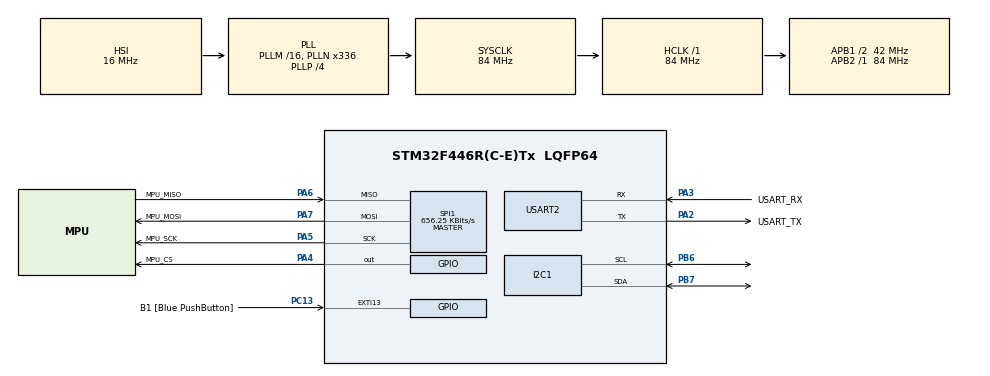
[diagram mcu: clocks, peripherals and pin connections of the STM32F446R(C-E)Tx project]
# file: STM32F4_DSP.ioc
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Dma.I2C1_RX.2.Direction=DMA_PERIPH_TO_MEMORY
Dma.I2C1_RX.2.FIFOMode=DMA_FIFOMODE_DISABLE
Dma.I2C1_RX.2.Instance=DMA1_Stream0
Dma.I2C1_RX.2.MemDataAlignment=DMA_MDATAALIGN_BYTE
Dma.I2C1_RX.2.MemInc=DMA_MINC_ENABLE
Dma.I2C1_RX.2.Mode=DMA_NORMAL
Dma.I2C1_RX.2.PeriphDataAlignment=DMA_PDATAALIGN_BYTE
Dma.I2C1_RX.2.PeriphInc=DMA_PINC_DISABLE
Dma.I2C1_RX.2.Priority=DMA_PRIORITY_HIGH
Dma.I2C1_TX.3.Direction=DMA_MEMORY_TO_PERIPH
Dma.I2C1_TX.3.FIFOMode=DMA_FIFOMODE_DISABLE
Dma.I2C1_TX.3.Instance=DMA1_Stream6
Dma.I2C1_TX.3.MemDataAlignment=DMA_MDATAALIGN_BYTE
Dma.I2C1_TX.3.MemInc=DMA_MINC_ENABLE
Dma.I2C1_TX.3.Mode=DMA_NORMAL
Dma.I2C1_TX.3.PeriphDataAlignment=DMA_PDATAALIGN_BYTE
Dma.I2C1_TX.3.PeriphInc=DMA_PINC_DISABLE
Dma.I2C1_TX.3.Priority=DMA_PRIORITY_HIGH
Dma.Request0=SPI1_RX
Dma.Request1=SPI1_TX
Dma.Request2=I2C1_RX
Dma.Request3=I2C1_TX
Dma.SPI1_RX.0.Direction=DMA_PERIPH_TO_MEMORY
Dma.SPI1_RX.0.FIFOMode=DMA_FIFOMODE_DISABLE
Dma.SPI1_RX.0.Instance=DMA2_Stream0
Dma.SPI1_RX.0.MemDataAlignment=DMA_MDATAALIGN_BYTE
Dma.SPI1_RX.0.MemInc=DMA_MINC_ENABLE
Dma.SPI1_RX.0.Mode=DMA_NORMAL
Dma.SPI1_RX.0.PeriphDataAlignment=DMA_PDATAALIGN_BYTE
Dma.SPI1_RX.0.PeriphInc=DMA_PINC_DISABLE
Dma.SPI1_RX.0.Priority=DMA_PRIORITY_HIGH
Dma.SPI1_TX.1.Direction=DMA_MEMORY_TO_PERIPH
Dma.SPI1_TX.1.FIFOMode=DMA_FIFOMODE_DISABLE
Dma.SPI1_TX.1.Instance=DMA2_Stream3
Dma.SPI1_TX.1.MemDataAlignment=DMA_MDATAALIGN_BYTE
Dma.SPI1_TX.1.MemInc=DMA_MINC_ENABLE
Dma.SPI1_TX.1.Mode=DMA_NORMAL
Dma.SPI1_TX.1.PeriphDataAlignment=DMA_PDATAALIGN_BYTE
Dma.SPI1_TX.1.PeriphInc=DMA_PINC_DISABLE
Dma.SPI1_TX.1.Priority=DMA_PRIORITY_HIGH
Mcu.Family=STM32F4
Mcu.Name=STM32F446R(C-E)Tx
Mcu.Package=LQFP64
NVIC.DMA1_Stream0_IRQn=true\:0\:0\:false\:false\:true\:false\:true\:true
NVIC.DMA1_Stream6_IRQn=true\:0\:0\:false\:false\:true\:false\:true\:true
NVIC.DMA2_Stream0_IRQn=true\:0\:0\:false\:false\:true\:false\:true\:true
NVIC.DMA2_Stream3_IRQn=true\:0\:0\:false\:false\:true\:false\:true\:true
NVIC.PriorityGroup=NVIC_PRIORITYGROUP_0
PA13.GPIO_Label=TMS
PA13.Mode=Serial_Wire
PA13.Signal=SYS_JTMS-SWDIO
PA14.GPIO_Label=TCK
PA14.Mode=Serial_Wire
PA14.Signal=SYS_JTCK-SWCLK
PA2.GPIO_Label=USART_TX
PA2.Mode=Asynchronous
PA2.Signal=USART2_TX
PA3.GPIO_Label=USART_RX
PA3.Mode=Asynchronous
PA3.Signal=USART2_RX
PA4.GPIO_Label=MPU_CS
PA4.Signal=GPIO_Output
PA5.GPIO_Label=MPU_SCK
PA5.Mode=Full_Duplex_Master
PA5.Signal=SPI1_SCK
PA6.GPIO_Label=MPU_MISO
PA6.Mode=Full_Duplex_Master
PA6.Signal=SPI1_MISO
PA7.GPIO_Label=MPU_MOSI
PA7.Mode=Full_Duplex_Master
PA7.Signal=SPI1_MOSI
PB3.GPIO_Label=SWO
PB3.Signal=SYS_JTDO-SWO
PB6.Mode=I2C
PB6.Signal=I2C1_SCL
PB7.Mode=I2C
PB7.Signal=I2C1_SDA
PC13.GPIO_Label=B1 [Blue PushButton]
PC13.GPIO_ModeDefaultEXTI=GPIO_MODE_IT_FALLING
PC13.Signal=GPXTI13
PC14-OSC32_IN.Mode=LSE-External-Oscillator
PC14-OSC32_IN.Signal=RCC_OSC32_IN
PC15-OSC32_OUT.Mode=LSE-External-Oscillator
PC15-OSC32_OUT.Signal=RCC_OSC32_OUT
PH0-OSC_IN.Mode=HSE-External-Oscillator
PH0-OSC_IN.Signal=RCC_OSC_IN
PH1-OSC_OUT.Mode=HSE-External-Oscillator
PH1-OSC_OUT.Signal=RCC_OSC_OUT
ProjectManager.HeapSize=0x200
ProjectManager.StackSize=0x400
ProjectManager.TargetToolchain=CMake
RCC.48MHZClocksFreq_Value=84000000
RCC.AHBFreq_Value=84000000
RCC.APB1CLKDivider=RCC_HCLK_DIV2
RCC.APB1Freq_Value=42000000
RCC.APB1TimFreq_Value=84000000
RCC.APB2Freq_Value=84000000
RCC.APB2TimFreq_Value=84000000
RCC.CortexFreq_Value=84000000
RCC.FLatency-AdvancedSettings=FLASH_LATENCY_2
RCC.HCLKFreq_Value=84000000
RCC.HSE_VALUE=8000000
RCC.HSI_VALUE=16000000
RCC.PLLN=336
RCC.PLLP=RCC_PLLP_DIV4
RCC.SYSCLKFreq_VALUE=84000000
RCC.SYSCLKSource=RCC_SYSCLKSOURCE_PLLCLK
RCC.USBFreq_Value=168000000
RCC.VCOOutputFreq_Value=336000000
SPI1.BaudRatePrescaler=SPI_BAUDRATEPRESCALER_128
SPI1.CalculateBaudRate=656.25 KBits/s
SPI1.Direction=SPI_DIRECTION_2LINES
SPI1.Mode=SPI_MODE_MASTER
SPI1.VirtualType=VM_MASTER
USART2.VirtualMode=VM_ASYNC
board=NUCLEO-F446RE

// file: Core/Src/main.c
/* USER CODE BEGIN Header */
/**
  ******************************************************************************
  * @file           : main.c
  * @brief          : Main program body
  ******************************************************************************
  * @attention
  *
  * Copyright (c) 2025 STMicroelectronics.
  * All rights reserved.
  *
  * This software is licensed under terms that can be found in the LICENSE file
  * in the root directory of this software component.
  * If no LICENSE file comes with this software, it is provided AS-IS.
  *
  ******************************************************************************
  */
/* USER CODE END Header */
#include "main.h"

/* USER CODE BEGIN Includes */
// #include "MPU9250.h"
#include "mpu9250.h"
#include "string.h"
#include "stdio.h"
#include "kalman_filter.h"
#include "bmp280.h"
#include "stdint.h"
/* USER CODE END Includes */

I2C_HandleTypeDef hi2c1;
DMA_HandleTypeDef hdma_i2c1_rx;
DMA_HandleTypeDef hdma_i2c1_tx;

SPI_HandleTypeDef hspi1;
DMA_HandleTypeDef hdma_spi1_rx;
DMA_HandleTypeDef hdma_spi1_tx;

UART_HandleTypeDef huart2;

/* USER CODE BEGIN PV */
uint8_t ret = 0;
mpu9250_t hIMU;
uint8_t whoami = 0;
uint8_t bmp280_id=0;
kalman_var kalman_Roll, kalman_Pitch;
gyro_fs_t Gyro_fs = gyro_fs_2000dps;
accel_fs_t Accel_fs = accel_fs_16g;

/* USER CODE END PV */

void SystemClock_Config(void);
static void MX_GPIO_Init(void);
static void MX_DMA_Init(void);
static void MX_SPI1_Init(void);
static void MX_USART2_UART_Init(void);
static void MX_I2C1_Init(void);

/* USER CODE BEGIN 0 */
void HAL_SPI_RxCpltCallback(SPI_HandleTypeDef *hspi)
{
  if (hspi->Instance == SPI1)
  {
   MPU_ReadAllDMA_Cplt(&hIMU, Accel_fs, Gyro_fs);
  }
}

/* USER CODE END 0 */

int main(void)
{

  /* MCU Configuration--------------------------------------------------------*/

  /* Reset of all peripherals, Initializes the Flash interface and the Systick. */
  HAL_Init();

  /* Configure the system clock */
  SystemClock_Config();

  /* Initialize all configured peripherals */
  MX_GPIO_Init();
  MX_DMA_Init();
  MX_SPI1_Init();
  MX_USART2_UART_Init();
  MX_I2C1_Init();
  /* USER CODE BEGIN 2 */

  char data[64];

  char msg[] = "Starting IMU\r\n";
  HAL_UART_Transmit(&huart2, (uint8_t *)msg, strlen(msg), 1000);
  MPU_Init(&hspi1, dlpf_rate_3600hz, Accel_fs, Gyro_fs, accel_dlpf_420hz);
  BMP280_ID(&hi2c1, &bmp280_id);
  sprintf(data, "IMU ID: 0x%x|%d\r\n, BMP280 ID: 0x%x|%d", whoami,whoami, bmp280_id, bmp280_id);
  HAL_UART_Transmit(&huart2, (uint8_t *)data, strlen(data), 1000);

  //* Callibrate Gyroscope
  MPU_CallibrateDMA(&hspi1, &hIMU, 3000);

  //* Kalaman filter initialization
  kalman_init(&kalman_Roll,  0.001, 0.03, 0.05, hIMU.Roll, hIMU.Gyro_callib.Gx);
  kalman_init(&kalman_Pitch, 0.007, 0.03, 0.08, hIMU.Pitch, hIMU.Gyro_callib.Gy);
  /* USER CODE END 2 */

  /* Infinite loop */
  while (1)
  {

    /* USER CODE BEGIN 3 */
    // Read IMU data
    if(whoami == MPU9250_SPI_ID)
    {
      ret = MPU_ReadAllDMA(&hspi1, &hIMU);
      if(ret != MPU9250_OK)
      {
        char msg[] = "Error reading data\r\n";
        HAL_UART_Transmit(&huart2, (uint8_t *)msg, strlen(msg), 1000);
      }
      // Kalman filter update
      kalman_update(&kalman_Roll, hIMU.Roll, hIMU.Gyro_data.Gx, 0.01);
      kalman_update(&kalman_Pitch, hIMU.Pitch, hIMU.Gyro_data.Gy, 0.01);

      // Print data
      sprintf(data, "Roll: %.2f, Pitch: %.2f \r\n", kalman_Roll.angle, kalman_Pitch.angle);
      HAL_UART_Transmit(&huart2, (uint8_t *)data, strlen(data), 1000);
    }
    else
    {
      char msg[] = "Device not found\r\n";
      HAL_UART_Transmit(&huart2, (uint8_t *)msg, strlen(msg), 1000);
    }
  }
  /* USER CODE END 3 */
}

void SystemClock_Config(void)
{
  RCC_OscInitTypeDef RCC_OscInitStruct = {0};
  RCC_ClkInitTypeDef RCC_ClkInitStruct = {0};

  /** Configure the main internal regulator output voltage
  */
  __HAL_RCC_PWR_CLK_ENABLE();
  __HAL_PWR_VOLTAGESCALING_CONFIG(PWR_REGULATOR_VOLTAGE_SCALE3);

  /** Initializes the RCC Oscillators according to the specified parameters
  * in the RCC_OscInitTypeDef structure.
  */
  RCC_OscInitStruct.OscillatorType = RCC_OSCILLATORTYPE_HSI;
  RCC_OscInitStruct.HSIState = RCC_HSI_ON;
  RCC_OscInitStruct.HSICalibrationValue = RCC_HSICALIBRATION_DEFAULT;
  RCC_OscInitStruct.PLL.PLLState = RCC_PLL_ON;
  RCC_OscInitStruct.PLL.PLLSource = RCC_PLLSOURCE_HSI;
  RCC_OscInitStruct.PLL.PLLM = 16;
  RCC_OscInitStruct.PLL.PLLN = 336;
  RCC_OscInitStruct.PLL.PLLP = RCC_PLLP_DIV4;
  RCC_OscInitStruct.PLL.PLLQ = 2;
  RCC_OscInitStruct.PLL.PLLR = 2;
  if (HAL_RCC_OscConfig(&RCC_OscInitStruct) != HAL_OK)
  {
    Error_Handler();
  }

  /** Initializes the CPU, AHB and APB buses clocks
  */
  RCC_ClkInitStruct.ClockType = RCC_CLOCKTYPE_HCLK|RCC_CLOCKTYPE_SYSCLK
                              |RCC_CLOCKTYPE_PCLK1|RCC_CLOCKTYPE_PCLK2;
  RCC_ClkInitStruct.SYSCLKSource = RCC_SYSCLKSOURCE_PLLCLK;
  RCC_ClkInitStruct.AHBCLKDivider = RCC_SYSCLK_DIV1;
  RCC_ClkInitStruct.APB1CLKDivider = RCC_HCLK_DIV2;
  RCC_ClkInitStruct.APB2CLKDivider = RCC_HCLK_DIV1;

  if (HAL_RCC_ClockConfig(&RCC_ClkInitStruct, FLASH_LATENCY_2) != HAL_OK)
  {
    Error_Handler();
  }
}

static void MX_I2C1_Init(void)
{

  hi2c1.Instance = I2C1;
  hi2c1.Init.ClockSpeed = 100000;
  hi2c1.Init.DutyCycle = I2C_DUTYCYCLE_2;
  hi2c1.Init.OwnAddress1 = 0;
  hi2c1.Init.AddressingMode = I2C_ADDRESSINGMODE_7BIT;
  hi2c1.Init.DualAddressMode = I2C_DUALADDRESS_DISABLE;
  hi2c1.Init.OwnAddress2 = 0;
  hi2c1.Init.GeneralCallMode = I2C_GENERALCALL_DISABLE;
  hi2c1.Init.NoStretchMode = I2C_NOSTRETCH_DISABLE;
  if (HAL_I2C_Init(&hi2c1) != HAL_OK)
  {
    Error_Handler();
  }

}

static void MX_SPI1_Init(void)
{

  /* SPI1 parameter configuration*/
  hspi1.Instance = SPI1;
  hspi1.Init.Mode = SPI_MODE_MASTER;
  hspi1.Init.Direction = SPI_DIRECTION_2LINES;
  hspi1.Init.DataSize = SPI_DATASIZE_8BIT;
  hspi1.Init.CLKPolarity = SPI_POLARITY_LOW;
  hspi1.Init.CLKPhase = SPI_PHASE_1EDGE;
  hspi1.Init.NSS = SPI_NSS_SOFT;
  hspi1.Init.BaudRatePrescaler = SPI_BAUDRATEPRESCALER_128;
  hspi1.Init.FirstBit = SPI_FIRSTBIT_MSB;
  hspi1.Init.TIMode = SPI_TIMODE_DISABLE;
  hspi1.Init.CRCCalculation = SPI_CRCCALCULATION_DISABLE;
  hspi1.Init.CRCPolynomial = 10;
  if (HAL_SPI_Init(&hspi1) != HAL_OK)
  {
    Error_Handler();
  }

}

static void MX_USART2_UART_Init(void)
{

  huart2.Instance = USART2;
  huart2.Init.BaudRate = 115200;
  huart2.Init.WordLength = UART_WORDLENGTH_8B;
  huart2.Init.StopBits = UART_STOPBITS_1;
  huart2.Init.Parity = UART_PARITY_NONE;
  huart2.Init.Mode = UART_MODE_TX_RX;
  huart2.Init.HwFlowCtl = UART_HWCONTROL_NONE;
  huart2.Init.OverSampling = UART_OVERSAMPLING_16;
  if (HAL_UART_Init(&huart2) != HAL_OK)
  {
    Error_Handler();
  }

}

static void MX_DMA_Init(void)
{

  /* DMA controller clock enable */
  __HAL_RCC_DMA2_CLK_ENABLE();
  __HAL_RCC_DMA1_CLK_ENABLE();

  /* DMA interrupt init */
  /* DMA1_Stream0_IRQn interrupt configuration */
  HAL_NVIC_SetPriority(DMA1_Stream0_IRQn, 0, 0);
  HAL_NVIC_EnableIRQ(DMA1_Stream0_IRQn);
  /* DMA1_Stream6_IRQn interrupt configuration */
  HAL_NVIC_SetPriority(DMA1_Stream6_IRQn, 0, 0);
  HAL_NVIC_EnableIRQ(DMA1_Stream6_IRQn);
  /* DMA2_Stream0_IRQn interrupt configuration */
  HAL_NVIC_SetPriority(DMA2_Stream0_IRQn, 0, 0);
  HAL_NVIC_EnableIRQ(DMA2_Stream0_IRQn);
  /* DMA2_Stream3_IRQn interrupt configuration */
  HAL_NVIC_SetPriority(DMA2_Stream3_IRQn, 0, 0);
  HAL_NVIC_EnableIRQ(DMA2_Stream3_IRQn);

}

static void MX_GPIO_Init(void)
{
  GPIO_InitTypeDef GPIO_InitStruct = {0};

  /* GPIO Ports Clock Enable */
  __HAL_RCC_GPIOC_CLK_ENABLE();
  __HAL_RCC_GPIOH_CLK_ENABLE();
  __HAL_RCC_GPIOA_CLK_ENABLE();
  __HAL_RCC_GPIOB_CLK_ENABLE();

  /*Configure GPIO pin Output Level */
  HAL_GPIO_WritePin(MPU_CS_GPIO_Port, MPU_CS_Pin, GPIO_PIN_RESET);

  /*Configure GPIO pin : B1_Pin */
  GPIO_InitStruct.Pin = B1_Pin;
  GPIO_InitStruct.Mode = GPIO_MODE_IT_FALLING;
  GPIO_InitStruct.Pull = GPIO_NOPULL;
  HAL_GPIO_Init(B1_GPIO_Port, &GPIO_InitStruct);

  /*Configure GPIO pin : MPU_CS_Pin */
  GPIO_InitStruct.Pin = MPU_CS_Pin;
  GPIO_InitStruct.Mode = GPIO_MODE_OUTPUT_PP;
  GPIO_InitStruct.Pull = GPIO_NOPULL;
  GPIO_InitStruct.Speed = GPIO_SPEED_FREQ_LOW;
  HAL_GPIO_Init(MPU_CS_GPIO_Port, &GPIO_InitStruct);

}

void Error_Handler(void)
{
  __disable_irq();
  while (1)
  {
  }
}
